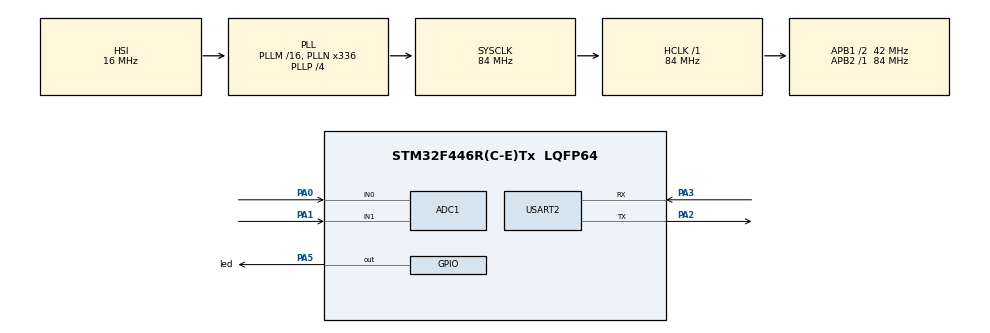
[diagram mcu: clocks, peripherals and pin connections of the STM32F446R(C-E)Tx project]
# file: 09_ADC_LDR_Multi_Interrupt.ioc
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ADC1.Channel-0\#ChannelRegularConversion=ADC_CHANNEL_0
ADC1.Channel-1\#ChannelRegularConversion=ADC_CHANNEL_1
ADC1.ContinuousConvMode=ENABLE
ADC1.NbrOfConversion=2
ADC1.NbrOfConversionFlag=1
ADC1.Rank-0\#ChannelRegularConversion=1
ADC1.Rank-1\#ChannelRegularConversion=2
ADC1.SamplingTime-0\#ChannelRegularConversion=ADC_SAMPLETIME_480CYCLES
ADC1.SamplingTime-1\#ChannelRegularConversion=ADC_SAMPLETIME_480CYCLES
ADC1.ScanConvMode=ENABLE
ADC1.master=1
Mcu.Family=STM32F4
Mcu.Name=STM32F446R(C-E)Tx
Mcu.Package=LQFP64
NVIC.ADC_IRQn=true\:0\:0\:false\:false\:true\:true\:true\:true
NVIC.PriorityGroup=NVIC_PRIORITYGROUP_0
PA0-WKUP.Signal=ADCx_IN0
PA1.Signal=ADCx_IN1
PA13.Mode=Serial_Wire
PA13.Signal=SYS_JTMS-SWDIO
PA14.Mode=Serial_Wire
PA14.Signal=SYS_JTCK-SWCLK
PA2.Mode=Asynchronous
PA2.Signal=USART2_TX
PA3.Mode=Asynchronous
PA3.Signal=USART2_RX
PA5.GPIO_Label=led
PA5.GPIO_Speed=GPIO_SPEED_FREQ_MEDIUM
PA5.Signal=GPIO_Output
ProjectManager.HeapSize=0x200
ProjectManager.StackSize=0x400
ProjectManager.TargetToolchain=STM32CubeIDE
RCC.48MHZClocksFreq_Value=84000000
RCC.AHBFreq_Value=84000000
RCC.APB1CLKDivider=RCC_HCLK_DIV2
RCC.APB1Freq_Value=42000000
RCC.APB1TimFreq_Value=84000000
RCC.APB2Freq_Value=84000000
RCC.APB2TimFreq_Value=84000000
RCC.CortexFreq_Value=84000000
RCC.FLatency-AdvancedSettings=FLASH_LATENCY_2
RCC.HCLKFreq_Value=84000000
RCC.HSE_VALUE=8000000
RCC.HSI_VALUE=16000000
RCC.PLLN=336
RCC.PLLP=RCC_PLLP_DIV4
RCC.SYSCLKFreq_VALUE=84000000
RCC.SYSCLKSource=RCC_SYSCLKSOURCE_PLLCLK
RCC.USBFreq_Value=168000000
RCC.VCOOutputFreq_Value=336000000
SH.ADCx_IN0.0=ADC1_IN0,IN0
SH.ADCx_IN1.0=ADC1_IN1,IN1
USART2.VirtualMode=VM_ASYNC
board=NUCLEO-F446RE

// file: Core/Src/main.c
/* USER CODE BEGIN Header */
/**
 ******************************************************************************
 * @file           : main.c
 * @brief          : Main program body
 ******************************************************************************
 * @attention
 *
 * Copyright (c) 2024 STMicroelectronics.
 * All rights reserved.
 *
 * This software is licensed under terms that can be found in the LICENSE file
 * in the root directory of this software component.
 * If no LICENSE file comes with this software, it is provided AS-IS.
 *
 ******************************************************************************
 */
/* USER CODE END Header */
#include "main.h"

/* USER CODE BEGIN Includes */
#include "stdio.h"
#include "string.h"

/* USER CODE END Includes */

/* USER CODE BEGIN PD */
#define LIGHT_THRESHOLD 1500

/* USER CODE END PD */

ADC_HandleTypeDef hadc1;

UART_HandleTypeDef huart2;

/* USER CODE BEGIN PV */
volatile uint32_t adcValues[2];
volatile uint32_t adcValuePot = 0;
volatile uint32_t adcValueLDR = 0;
char uartBuffer[50];
uint8_t ledStatus = 0;

/* USER CODE END PV */

void SystemClock_Config(void);
static void MX_GPIO_Init(void);
static void MX_USART2_UART_Init(void);
static void MX_ADC1_Init(void);

int main(void) {

	/* MCU Configuration--------------------------------------------------------*/

	/* Reset of all peripherals, Initializes the Flash interface and the Systick. */
	HAL_Init();

	/* Configure the system clock */
	SystemClock_Config();

	/* Initialize all configured peripherals */
	MX_GPIO_Init();
	MX_USART2_UART_Init();
	MX_ADC1_Init();
	/* USER CODE BEGIN 2 */

	HAL_ADC_Start_IT(&hadc1);

	/* USER CODE END 2 */

	while (1) {

		/* USER CODE BEGIN 3 */
		sprintf(uartBuffer, "Light Level: %lu, LED Status: %s\r\n", adcValueLDR, ledStatus ? "ON" : "OFF");
		HAL_UART_Transmit(&huart2, (uint8_t*)uartBuffer, strlen(uartBuffer), HAL_MAX_DELAY);
		HAL_Delay(500);
	}
	/* USER CODE END 3 */
}

void SystemClock_Config(void) {
	RCC_OscInitTypeDef RCC_OscInitStruct = { 0 };
	RCC_ClkInitTypeDef RCC_ClkInitStruct = { 0 };

	/** Configure the main internal regulator output voltage
	 */
	__HAL_RCC_PWR_CLK_ENABLE();
	__HAL_PWR_VOLTAGESCALING_CONFIG(PWR_REGULATOR_VOLTAGE_SCALE3);

	/** Initializes the RCC Oscillators according to the specified parameters
	 * in the RCC_OscInitTypeDef structure.
	 */
	RCC_OscInitStruct.OscillatorType = RCC_OSCILLATORTYPE_HSI;
	RCC_OscInitStruct.HSIState = RCC_HSI_ON;
	RCC_OscInitStruct.HSICalibrationValue = RCC_HSICALIBRATION_DEFAULT;
	RCC_OscInitStruct.PLL.PLLState = RCC_PLL_ON;
	RCC_OscInitStruct.PLL.PLLSource = RCC_PLLSOURCE_HSI;
	RCC_OscInitStruct.PLL.PLLM = 16;
	RCC_OscInitStruct.PLL.PLLN = 336;
	RCC_OscInitStruct.PLL.PLLP = RCC_PLLP_DIV4;
	RCC_OscInitStruct.PLL.PLLQ = 2;
	RCC_OscInitStruct.PLL.PLLR = 2;
	if (HAL_RCC_OscConfig(&RCC_OscInitStruct) != HAL_OK) {
		Error_Handler();
	}

	/** Initializes the CPU, AHB and APB buses clocks
	 */
	RCC_ClkInitStruct.ClockType = RCC_CLOCKTYPE_HCLK | RCC_CLOCKTYPE_SYSCLK
			| RCC_CLOCKTYPE_PCLK1 | RCC_CLOCKTYPE_PCLK2;
	RCC_ClkInitStruct.SYSCLKSource = RCC_SYSCLKSOURCE_PLLCLK;
	RCC_ClkInitStruct.AHBCLKDivider = RCC_SYSCLK_DIV1;
	RCC_ClkInitStruct.APB1CLKDivider = RCC_HCLK_DIV2;
	RCC_ClkInitStruct.APB2CLKDivider = RCC_HCLK_DIV1;

	if (HAL_RCC_ClockConfig(&RCC_ClkInitStruct, FLASH_LATENCY_2) != HAL_OK) {
		Error_Handler();
	}
}

static void MX_ADC1_Init(void) {

	ADC_ChannelConfTypeDef sConfig = { 0 };

	/** Configure the global features of the ADC (Clock, Resolution, Data Alignment and number of conversion)
	 */
	hadc1.Instance = ADC1;
	hadc1.Init.ClockPrescaler = ADC_CLOCK_SYNC_PCLK_DIV4;
	hadc1.Init.Resolution = ADC_RESOLUTION_12B;
	hadc1.Init.ScanConvMode = ENABLE;
	hadc1.Init.ContinuousConvMode = ENABLE;
	hadc1.Init.DiscontinuousConvMode = DISABLE;
	hadc1.Init.ExternalTrigConvEdge = ADC_EXTERNALTRIGCONVEDGE_NONE;
	hadc1.Init.ExternalTrigConv = ADC_SOFTWARE_START;
	hadc1.Init.DataAlign = ADC_DATAALIGN_RIGHT;
	hadc1.Init.NbrOfConversion = 2;
	hadc1.Init.DMAContinuousRequests = DISABLE;
	hadc1.Init.EOCSelection = ADC_EOC_SINGLE_CONV;
	if (HAL_ADC_Init(&hadc1) != HAL_OK) {
		Error_Handler();
	}

	/** Configure for the selected ADC regular channel its corresponding rank in the sequencer and its sample time.
	 */
	sConfig.Channel = ADC_CHANNEL_0;
	sConfig.Rank = 1;
	sConfig.SamplingTime = ADC_SAMPLETIME_480CYCLES;
	if (HAL_ADC_ConfigChannel(&hadc1, &sConfig) != HAL_OK) {
		Error_Handler();
	}

	/** Configure for the selected ADC regular channel its corresponding rank in the sequencer and its sample time.
	 */
	sConfig.Channel = ADC_CHANNEL_1;
	sConfig.Rank = 2;
	if (HAL_ADC_ConfigChannel(&hadc1, &sConfig) != HAL_OK) {
		Error_Handler();
	}

}

static void MX_USART2_UART_Init(void) {

	huart2.Instance = USART2;
	huart2.Init.BaudRate = 115200;
	huart2.Init.WordLength = UART_WORDLENGTH_8B;
	huart2.Init.StopBits = UART_STOPBITS_1;
	huart2.Init.Parity = UART_PARITY_NONE;
	huart2.Init.Mode = UART_MODE_TX_RX;
	huart2.Init.HwFlowCtl = UART_HWCONTROL_NONE;
	huart2.Init.OverSampling = UART_OVERSAMPLING_16;
	if (HAL_UART_Init(&huart2) != HAL_OK) {
		Error_Handler();
	}

}

static void MX_GPIO_Init(void) {
	GPIO_InitTypeDef GPIO_InitStruct = { 0 };

	/* GPIO Ports Clock Enable */
	__HAL_RCC_GPIOA_CLK_ENABLE();

	/*Configure GPIO pin Output Level */
	HAL_GPIO_WritePin(led_GPIO_Port, led_Pin, GPIO_PIN_RESET);

	/*Configure GPIO pin : led_Pin */
	GPIO_InitStruct.Pin = led_Pin;
	GPIO_InitStruct.Mode = GPIO_MODE_OUTPUT_PP;
	GPIO_InitStruct.Pull = GPIO_NOPULL;
	GPIO_InitStruct.Speed = GPIO_SPEED_FREQ_MEDIUM;
	HAL_GPIO_Init(led_GPIO_Port, &GPIO_InitStruct);

}

/* USER CODE BEGIN 4 */

void HAL_ADC_ConvCpltCallback(ADC_HandleTypeDef *hadc) {

	if (hadc->Instance == ADC1) {

		static uint8_t conversionCounter = 0;

		adcValues[conversionCounter] = HAL_ADC_GetValue(hadc);

		if (conversionCounter == 0) {
			adcValuePot = adcValues[0];
		} else {
			adcValueLDR = adcValues[1];
			if (adcValueLDR < LIGHT_THRESHOLD) {
				HAL_GPIO_WritePin(led_GPIO_Port, led_Pin, 1);    // LED ON
				ledStatus = 1;
			} else {
				HAL_GPIO_WritePin(led_GPIO_Port, led_Pin, 0); // LED OFF
				ledStatus = 0;
			}

		}
		conversionCounter++;

		if (conversionCounter >= 2) {
			conversionCounter = 0;
		}

	}

}

/* USER CODE END 4 */

void Error_Handler(void) {
	__disable_irq();
	while (1) {
	}
}
